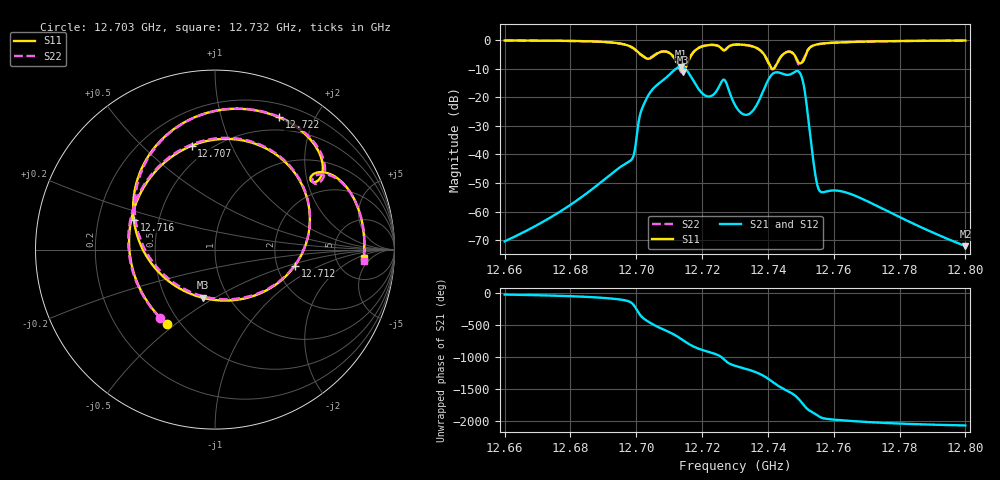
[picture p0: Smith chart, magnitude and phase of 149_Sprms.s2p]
! TOUCHSTONE file generated by CST MICROWAVE STUDIO
! Date and time: Wed Jul 31 18:21:23 2024
! Project name: WaveGuide_BPF-Ver4.1_U-shape_Ku_T3_C4_CWA_2.cst
! Parameters = {cavity_h=16; cavity_l0=10; cavity_l1=15.1786; cavity_l2=16.8776; cavity_l3=17.1005; cavity_l4=17.2917; cavity_l5=17.0961; cavity_l6=17.6402; cavity_r=2.5; cavity_screw_l=0.5; cavity_screw_r=1.5; cavity_w=8; iris_h00=0; iris_h01=8.8216; iris_h112=0; iris_h12=5.5979; iris_h211=3.6645; 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
! Header version: 2018
! Port assignment regex: !\s*Touchstone port\s*([0-9]+)\s*=\s*(CST MWS port|CST DS port)\s*([0-9]+|Zmin|Zmax)\s*\(\"(.*)\"\)(\s*mode\s*([0-9]+))?.*
! Touchstone port assignment:
! Touchstone port 1 = CST MWS port 1 ("")
! Touchstone port 2 = CST MWS port 2 ("")
# GHz S RI R 50
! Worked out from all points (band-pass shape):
!   5001 points, 12.66 GHz to 12.8 GHz, reference 50 ohm
!   highest |S21| = -9.36 dB at 12.714 GHz (marker M1); lowest = -72.0 dB at 12.8 GHz (marker M2)
!   |S21| within 3 dB of the highest: 12.70983 GHz to 12.7164 GHz (6.567 MHz wide, 0.0517 % of centre); 12.74099 GHz to 12.75008 GHz (9.087 MHz wide, 0.0713 % of centre)
!   lowest |S11| = -11.1 dB at 12.714 GHz (marker M3), VSWR 1.77, Z = 38 - j22.1 ohm
!   |S11| at or under -10 dB: 12.71326 GHz to 12.71489 GHz (1.626 MHz wide, 0.0128 % of centre); 12.74121 GHz to 12.74178 GHz (568.6 kHz wide, 0.00446 % of centre)
!   |S22| runs from -11.4 to -0.2 dB; largest |S21 - S12| = 1e-09
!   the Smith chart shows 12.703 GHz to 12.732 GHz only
!   S11 on the Smith chart (normalised r, x): 12.703 GHz: 0.43, -0.47; 12.707 GHz: 0.40, +0.72; 12.712 GHz: 2.51, -0.57; 12.716 GHz: 0.36, +0.16; 12.722 GHz: 0.34, +1.54; 12.732 GHz: 10, -3
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12.66  0.27 0.9445  0.000284 -0.000105  0.000284 -0.000105  0.2747 0.9431
12.68335  0.6885 0.6636  0.00108 -0.00143  0.00108 -0.00143  0.6931 0.6584
12.69629  0.8304 -0.1296  -0.00209 -0.00632  -0.00209 -0.00632  0.8222 -0.1505
12.70267  -0.2667 -0.4155  0.0505 -0.0668  0.0505 -0.0668  -0.3059 -0.3804
12.70668  -0.1309 0.5784  -0.1686 -0.0244  -0.1686 -0.0244  -0.1049 0.5948
12.71191  0.4451 -0.0893  0.1637 0.2636  0.1637 0.2636  0.4299 -0.1056
12.71354  0.0847 -0.2832  0.3388 0.0323  0.3388 0.0323  0.0469 -0.2768
12.7141  -0.069 -0.2683  0.3257 -0.0809  0.3257 -0.0809  -0.1076 -0.2473
12.71625  -0.4523 0.1666  0.0194 -0.2478  0.0194 -0.2478  -0.4472 0.2188
12.72247  0.3562 0.737  -0.091 0.0495  -0.091 0.0495  0.3804 0.7295
12.72667  0.535 0.3822  0.1554 0.1306  0.1554 0.1306  0.5462 0.3736
12.73  0.7991 0.2255  0.0375 -0.0627  0.0375 -0.0627  0.8043 0.2121
12.7321  0.8276 -0.0486  0.000129 -0.052  0.000129 -0.052  0.8277 -0.0612
12.73736  0.2482 -0.636  -0.0894 0.00485  -0.0894 0.00485  0.2342 -0.6372
12.74036  -0.3431 -0.1686  0.0113 0.2129  0.0113 0.2129  -0.3417 -0.1377
12.74316  0.1797 0.3913  0.2627 -0.0685  0.2627 -0.0685  0.2209 0.3811
12.74582  0.6183 -0.0109  -0.00582 -0.2459  -0.00582 -0.2459  0.6203 -0.0474
12.74915  0.3066 -0.2854  -0.2468 0.1431  -0.2468 0.1431  0.2798 -0.2694
12.75335  0.5578 -0.5429  0.00537 -0.0112  0.00537 -0.0112  0.55 -0.5606
12.75604  0.3046 -0.8029  -0.00191 -0.00113  -0.00191 -0.00113  0.2928 -0.8093
12.77668  -0.8538 -0.4246  -0.000505 0.000864  -0.000505 0.000864  -0.8568 -0.4189
12.8  -0.9645 0.1617  2.84e-05 0.000248  2.84e-05 0.000248  -0.9636 0.1673
